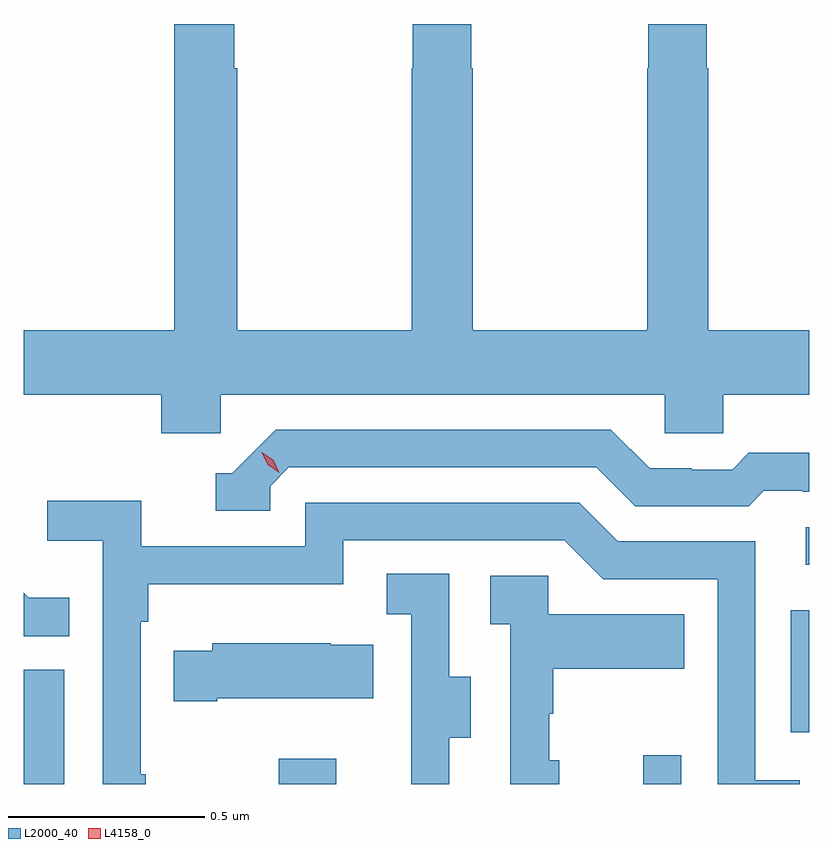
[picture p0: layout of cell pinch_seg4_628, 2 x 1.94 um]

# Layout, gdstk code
import gdstk
lib = gdstk.Library(unit=1e-6, precision=1e-09)
def R(c, l, rs):  # rectangles x0, y0, x1, y1
    for r in rs: c.add(gdstk.rectangle(r[:2], r[2:], *l))
def P(c, l, *ps):  # polygons
    for p in ps: c.add(gdstk.Polygon(p, *l))
L2000_40 = (2000, 40)
L4158_0 = (4158, 0)

pinch_seg4_628 = lib.new_cell('pinch_seg4_628')
R(pinch_seg4_628, L2000_40, [(1066.719,750.54,1066.822,750.831), (1067.368,750.54,1067.515,750.604), (1068.296,750.54,1068.393,750.613), (1068.672,750.672,1068.719,750.982), (1068.711,751.098,1068.719,751.194)])
P(pinch_seg4_628, L2000_40, [(1067.22,751.532),(1068.351,751.532),(1068.351,751.434),(1068.501,751.434),(1068.501,751.532),(1068.719,751.532),(1068.719,751.696),(1068.462,751.696),(1068.462,752.363),(1068.459,752.363),(1068.459,752.476),(1068.309,752.476),(1068.309,752.363),(1068.307,752.363),(1068.307,751.696),(1067.862,751.696),(1067.862,752.363),(1067.859,752.363),(1067.859,752.476),(1067.709,752.476),(1067.709,752.363),(1067.707,752.363),(1067.707,751.696),(1067.262,751.696),(1067.262,752.363),(1067.255,752.363),(1067.255,752.476),(1067.102,752.476),(1067.102,751.696),(1066.719,751.696),(1066.719,751.532),(1067.069,751.532),(1067.069,751.434),(1067.22,751.434)],
  [(1067.346,751.299),(1067.394,751.347),(1068.177,751.347),(1068.276,751.248),(1068.565,751.248),(1068.604,751.287),(1068.703,751.287),(1068.703,751.284),(1068.719,751.284),(1068.719,751.384),(1068.565,751.384),(1068.523,751.341),(1068.42,751.341),(1068.42,751.344),(1068.313,751.344),(1068.214,751.443),(1067.361,751.443),(1067.25,751.332),(1067.207,751.332),(1067.207,751.236),(1067.346,751.236)],
  [(1067.029,750.565),(1067.016,750.565),(1067.016,750.953),(1067.036,750.953),(1067.036,751.049),(1067.532,751.049),(1067.532,751.161),(1068.096,751.161),(1068.195,751.062),(1068.486,751.062),(1068.486,750.54),(1068.695,750.54),(1068.695,750.549),(1068.582,750.549),(1068.582,751.158),(1068.232,751.158),(1068.133,751.257),(1067.436,751.257),(1067.436,751.146),(1067.018,751.146),(1067.018,751.262),(1066.779,751.262),(1066.779,751.16),(1066.92,751.16),(1066.92,750.54),(1067.029,750.54)],
  [(1067.803,750.658),(1067.857,750.658),(1067.857,750.813),(1067.802,750.813),(1067.802,751.076),(1067.643,751.076),(1067.643,750.973),(1067.706,750.973),(1067.706,750.669),(1067.705,750.669),(1067.705,750.54),(1067.803,750.54)],
  [(1068.082,750.6),(1068.057,750.6),(1068.057,750.719),(1068.067,750.719),(1068.067,750.833),(1068.401,750.833),(1068.401,750.973),(1068.054,750.973),(1068.054,751.071),(1067.907,751.071),(1067.907,750.947),(1067.958,750.947),(1067.958,750.54),(1068.082,750.54)],
  [(1066.835,751.015),(1066.731,751.015),(1066.719,751.027),(1066.719,750.916),(1066.835,750.916)],
  [(1067.212,750.758),(1067.609,750.758),(1067.609,750.895),(1067.501,750.895),(1067.501,750.898),(1067.199,750.898),(1067.199,750.88),(1067.101,750.88),(1067.101,750.751),(1067.212,750.751)])
P(pinch_seg4_628, L4158_0, [(1067.37,751.333),(1067.34,751.353),(1067.324,751.386),(1067.324,751.386),(1067.324,751.386),(1067.354,751.366),(1067.37,751.333),(1067.37,751.333)])

lib.write_gds('pinch_seg4_628.gds')
